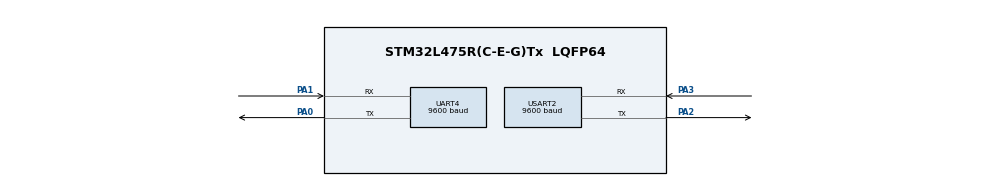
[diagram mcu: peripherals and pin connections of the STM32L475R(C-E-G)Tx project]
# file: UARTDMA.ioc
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Dma.Request0=UART4_RX
Dma.UART4_RX.0.Direction=DMA_PERIPH_TO_MEMORY
Dma.UART4_RX.0.Instance=DMA2_Channel5
Dma.UART4_RX.0.MemDataAlignment=DMA_MDATAALIGN_BYTE
Dma.UART4_RX.0.MemInc=DMA_MINC_ENABLE
Dma.UART4_RX.0.Mode=DMA_NORMAL
Dma.UART4_RX.0.PeriphDataAlignment=DMA_PDATAALIGN_BYTE
Dma.UART4_RX.0.PeriphInc=DMA_PINC_DISABLE
Dma.UART4_RX.0.Priority=DMA_PRIORITY_LOW
Mcu.Family=STM32L4
Mcu.Name=STM32L475R(C-E-G)Tx
Mcu.Package=LQFP64
NVIC.DMA2_Channel5_IRQn=true\:0\:0\:false\:false\:true\:false\:true\:true
NVIC.PriorityGroup=NVIC_PRIORITYGROUP_4
PA0.Mode=Asynchronous
PA0.Signal=UART4_TX
PA1.Mode=Asynchronous
PA1.Signal=UART4_RX
PA2.Mode=Asynchronous
PA2.Signal=USART2_TX
PA3.Mode=Asynchronous
PA3.Signal=USART2_RX
PH0-OSC_IN\ (PH0).Mode=HSE-External-Oscillator
PH0-OSC_IN\ (PH0).Signal=RCC_OSC_IN
PH1-OSC_OUT\ (PH1).Mode=HSE-External-Oscillator
PH1-OSC_OUT\ (PH1).Signal=RCC_OSC_OUT
ProjectManager.HeapSize=0x200
ProjectManager.StackSize=0x400
ProjectManager.TargetToolchain=STM32CubeIDE
RCC.HSE_VALUE=8000000
RCC.HSI_VALUE=16000000
RCC.LSE_VALUE=32768
RCC.MSI_VALUE=4000000
RCC.VCOOutputFreq_Value=32000000
UART4.BaudRate=9600
USART2.BaudRate=9600
USART2.VirtualMode-Asynchronous=VM_ASYNC
board=custom

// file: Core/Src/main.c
/* USER CODE BEGIN Header */
/**
  ******************************************************************************
  * @file           : main.c
  * @brief          : Main program body
  ******************************************************************************
  * @attention
  *
  * Copyright (c) 2024 STMicroelectronics.
  * All rights reserved.
  *
  * This software is licensed under terms that can be found in the LICENSE file
  * in the root directory of this software component.
  * If no LICENSE file comes with this software, it is provided AS-IS.
  *
  ******************************************************************************
  */
/* USER CODE END Header */
#include "main.h"
#include "stdio.h"
#include "stdlib.h"
#include "string.h"

UART_HandleTypeDef huart4;
UART_HandleTypeDef huart2;
DMA_HandleTypeDef hdma_uart4_rx;

void SystemClock_Config(void);
static void MX_GPIO_Init(void);
static void MX_DMA_Init(void);
static void MX_UART4_Init(void);
static void MX_USART2_UART_Init(void);
/* USER CODE BEGIN PFP */

char ReadBuff[2];

void uart_sText(UART_HandleTypeDef * huart, char buffer[],int m)
{

	HAL_UART_Transmit(huart, (uint8_t*)buffer, strlen(buffer), HAL_MAX_DELAY);
	if(m==1)HAL_UART_Transmit(huart, "\r\n", 2,HAL_MAX_DELAY );

}
void uart_sInt(UART_HandleTypeDef * huart, int i,int m)
{

	char buffer[10];
	itoa(i,buffer,10);
	HAL_UART_Transmit(huart, (uint8_t*)buffer,strlen(buffer), HAL_MAX_DELAY);
	if(m==1)HAL_UART_Transmit(huart, "\r\n", 2, HAL_MAX_DELAY);

}
void HAL_UART_RxCpltCallback(UART_HandleTypeDef *huart)
{
	int T;
	uart_sText(&huart2, "Arduino Reading Temperature", 0);
	T= 10*(ReadBuff[0]-'0')+ReadBuff[1]-'0';
	uart_sInt(&huart2, T, 1);
	HAL_UART_Receive_DMA(&huart4, (uint8_t *)ReadBuff, 2);
}
/* USER CODE END PFP */

int main(void)
{

  /* MCU Configuration--------------------------------------------------------*/

  /* Reset of all peripherals, Initializes the Flash interface and the Systick. */
  HAL_Init();

  /* Configure the system clock */
  SystemClock_Config();

  /* Initialize all configured peripherals */
  MX_GPIO_Init();
  MX_DMA_Init();
  MX_UART4_Init();
  MX_USART2_UART_Init();
  /* USER CODE BEGIN 2 */
  char ReadBuff[2];
  HAL_UART_Receive_DMA(&huart4, (uint8_t *)ReadBuff, 2);
  /* USER CODE END 2 */

  /* Infinite loop */
  while (1)
  {

  }
}

void SystemClock_Config(void)
{
  RCC_OscInitTypeDef RCC_OscInitStruct = {0};
  RCC_ClkInitTypeDef RCC_ClkInitStruct = {0};

  /** Configure the main internal regulator output voltage
  */
  if (HAL_PWREx_ControlVoltageScaling(PWR_REGULATOR_VOLTAGE_SCALE1) != HAL_OK)
  {
    Error_Handler();
  }

  /** Initializes the RCC Oscillators according to the specified parameters
  * in the RCC_OscInitTypeDef structure.
  */
  RCC_OscInitStruct.OscillatorType = RCC_OSCILLATORTYPE_MSI;
  RCC_OscInitStruct.MSIState = RCC_MSI_ON;
  RCC_OscInitStruct.MSICalibrationValue = 0;
  RCC_OscInitStruct.MSIClockRange = RCC_MSIRANGE_6;
  RCC_OscInitStruct.PLL.PLLState = RCC_PLL_NONE;
  if (HAL_RCC_OscConfig(&RCC_OscInitStruct) != HAL_OK)
  {
    Error_Handler();
  }

  /** Initializes the CPU, AHB and APB buses clocks
  */
  RCC_ClkInitStruct.ClockType = RCC_CLOCKTYPE_HCLK|RCC_CLOCKTYPE_SYSCLK
                              |RCC_CLOCKTYPE_PCLK1|RCC_CLOCKTYPE_PCLK2;
  RCC_ClkInitStruct.SYSCLKSource = RCC_SYSCLKSOURCE_MSI;
  RCC_ClkInitStruct.AHBCLKDivider = RCC_SYSCLK_DIV1;
  RCC_ClkInitStruct.APB1CLKDivider = RCC_HCLK_DIV1;
  RCC_ClkInitStruct.APB2CLKDivider = RCC_HCLK_DIV1;

  if (HAL_RCC_ClockConfig(&RCC_ClkInitStruct, FLASH_LATENCY_0) != HAL_OK)
  {
    Error_Handler();
  }
}

static void MX_UART4_Init(void)
{

  huart4.Instance = UART4;
  huart4.Init.BaudRate = 9600;
  huart4.Init.WordLength = UART_WORDLENGTH_8B;
  huart4.Init.StopBits = UART_STOPBITS_1;
  huart4.Init.Parity = UART_PARITY_NONE;
  huart4.Init.Mode = UART_MODE_TX_RX;
  huart4.Init.HwFlowCtl = UART_HWCONTROL_NONE;
  huart4.Init.OverSampling = UART_OVERSAMPLING_16;
  huart4.Init.OneBitSampling = UART_ONE_BIT_SAMPLE_DISABLE;
  huart4.AdvancedInit.AdvFeatureInit = UART_ADVFEATURE_NO_INIT;
  if (HAL_UART_Init(&huart4) != HAL_OK)
  {
    Error_Handler();
  }

}

static void MX_USART2_UART_Init(void)
{

  huart2.Instance = USART2;
  huart2.Init.BaudRate = 9600;
  huart2.Init.WordLength = UART_WORDLENGTH_8B;
  huart2.Init.StopBits = UART_STOPBITS_1;
  huart2.Init.Parity = UART_PARITY_NONE;
  huart2.Init.Mode = UART_MODE_TX_RX;
  huart2.Init.HwFlowCtl = UART_HWCONTROL_NONE;
  huart2.Init.OverSampling = UART_OVERSAMPLING_16;
  huart2.Init.OneBitSampling = UART_ONE_BIT_SAMPLE_DISABLE;
  huart2.AdvancedInit.AdvFeatureInit = UART_ADVFEATURE_NO_INIT;
  if (HAL_UART_Init(&huart2) != HAL_OK)
  {
    Error_Handler();
  }

}

static void MX_DMA_Init(void)
{

  /* DMA controller clock enable */
  __HAL_RCC_DMA2_CLK_ENABLE();

  /* DMA interrupt init */
  /* DMA2_Channel5_IRQn interrupt configuration */
  HAL_NVIC_SetPriority(DMA2_Channel5_IRQn, 0, 0);
  HAL_NVIC_EnableIRQ(DMA2_Channel5_IRQn);

}

static void MX_GPIO_Init(void)
{

  /* GPIO Ports Clock Enable */
  __HAL_RCC_GPIOH_CLK_ENABLE();
  __HAL_RCC_GPIOA_CLK_ENABLE();

}

void Error_Handler(void)
{
  __disable_irq();
  while (1)
  {
  }
}
